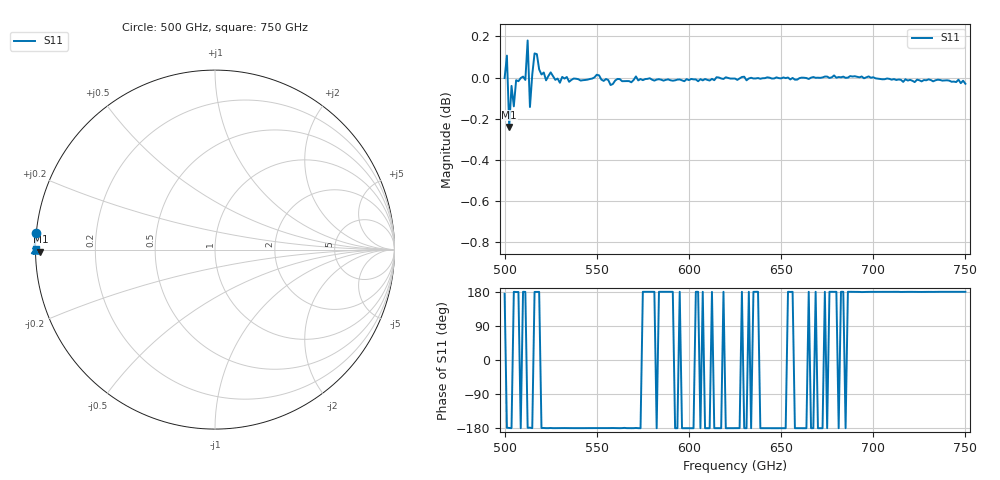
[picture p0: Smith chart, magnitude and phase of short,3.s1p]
!Created with mwavepy.
# GHz S RI R 50.0
!freq	ReS11	ImS11
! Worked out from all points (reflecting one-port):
!   201 points, 500 GHz to 750 GHz, reference 50 ohm
!   lowest |S11| = -0.2 dB at 502.5 GHz (marker M1), VSWR 72.40, Z = 0.691 - j0.308 ohm
!   phase of S11 starts at 175 deg and turns +5 deg over the sweep
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500  -0.9955 0.092
! Port Impedance 50.00000000000000 0.00000000000000
501.25  -1.012 -0.0228
502.5  -0.9727 -0.012
503.75  -0.9954 -0.00249
505  -0.984 0.00113
506.25  -0.9985 0.0119
508.75  -0.9997 -0.0013
511.25  -0.9987 0.00493
512.5  -1.021 -0.0207
513.75  -0.9834 -0.0238
516.25  -1.014 0.0071
518.75  -1.005 0.006
520  -1.002 -0.00933
531.25  -1 -0.00574
562.5  -0.9991 -0.00224
565  -0.9979 -0.0147
566.25  -0.998 -0.00384
571.25  -1.001 -0.0112
575  -0.9986 0.00121
593.75  -0.9989 -0.000184
625  -0.9995 -0.000719
656.25  -0.9998 0.00191
687.5  -1.001 0.000494
691.25  -1 0.000654
693.75  -1.001 0.0132
700  -1 0.00114
718.75  -0.9983 0.00341
750  -0.9965 0.00138
